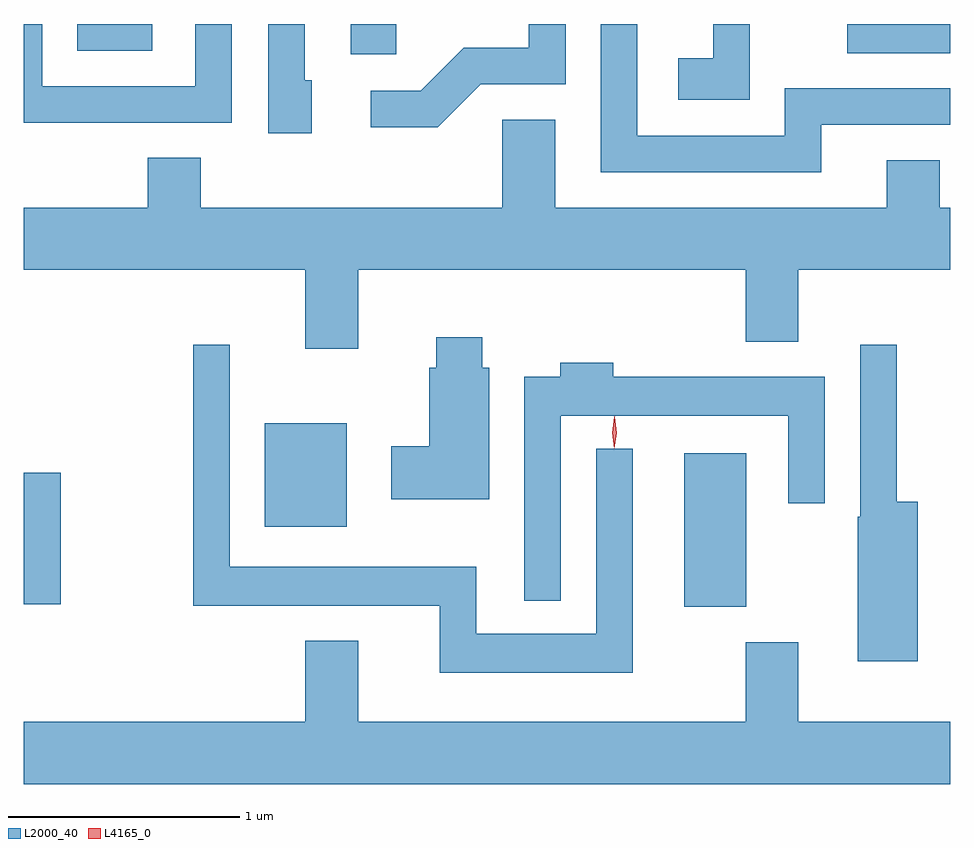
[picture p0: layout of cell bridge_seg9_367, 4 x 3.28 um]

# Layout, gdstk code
import gdstk
lib = gdstk.Library(unit=1e-6, precision=1e-09)
def R(c, l, rs):  # rectangles x0, y0, x1, y1
    for r in rs: c.add(gdstk.rectangle(r[:2], r[2:], *l))
def P(c, l, *ps):  # polygons
    for p in ps: c.add(gdstk.Polygon(p, *l))
L2000_40 = (2000, 40)
L4165_0 = (4165, 0)

bridge_seg9_367 = lib.new_cell('bridge_seg9_367')
R(bridge_seg9_367, L2000_40, [(992.996,1990.361,993.264,1991.024), (990.145,1990.371,990.304,1990.939), (991.186,1990.706,991.539,1991.154), (991.556,1992.746,991.754,1992.877), (993.701,1992.751,994.145,1992.877), (990.376,1992.761,990.699,1992.877)])
P(bridge_seg9_367, L2000_40, [(991.389,1992.634),(991.359,1992.634),(991.359,1992.877),(991.201,1992.877),(991.201,1992.406),(991.389,1992.406)],
  [(993.589,1992.441),(994.145,1992.441),(994.145,1992.599),(993.431,1992.599),(993.431,1992.394),(992.794,1992.394),(992.794,1992.877),(992.636,1992.877),(992.636,1992.236),(993.589,1992.236)],
  [(991.044,1992.877),(990.886,1992.877),(990.886,1992.609),(990.224,1992.609),(990.224,1992.877),(990.145,1992.877),(990.145,1992.451),(991.044,1992.451)],
  [(992.117,1992.616),(992.484,1992.616),(992.484,1992.877),(992.326,1992.877),(992.326,1992.774),(992.044,1992.774),(991.859,1992.589),(991.643,1992.589),(991.643,1992.431),(991.932,1992.431)],
  [(993.279,1992.877),(993.121,1992.877),(993.121,1992.729),(992.971,1992.729),(992.971,1992.551),(993.279,1992.551)],
  [(991.589,1991.816),(993.261,1991.816),(993.261,1991.506),(993.489,1991.506),(993.489,1991.816),(994.145,1991.816),(994.145,1992.084),(994.099,1992.084),(994.099,1992.289),(993.871,1992.289),(993.871,1992.084),(992.439,1992.084),(992.439,1992.464),(992.211,1992.464),(992.211,1992.084),(990.909,1992.084),(990.909,1992.299),(990.681,1992.299),(990.681,1992.084),(990.145,1992.084),(990.145,1991.816),(991.361,1991.816),(991.361,1991.476),(991.589,1991.476)],
  [(992.154,1991.394),(992.124,1991.394),(992.124,1991.524),(991.926,1991.524),(991.926,1991.394),(991.896,1991.394),(991.896,1991.054),(991.731,1991.054),(991.731,1990.826),(992.154,1990.826)],
  [(992.774,1991.043),(992.616,1991.043),(992.616,1990.244),(992.099,1990.244),(992.099,1990.534),(991.034,1990.534),(991.034,1991.493),(990.876,1991.493),(990.876,1990.366),(991.941,1990.366),(991.941,1990.076),(992.774,1990.076)],
  [(994.004,1990.814),(993.914,1990.814),(993.914,1991.493),(993.756,1991.493),(993.756,1990.75),(993.746,1990.75),(993.746,1990.126),(994.004,1990.126)],
  [(992.464,1991.186),(993.446,1991.186),(993.446,1990.808),(993.604,1990.808),(993.604,1991.354),(992.689,1991.354),(992.689,1991.414),(992.461,1991.414),(992.461,1991.354),(992.306,1991.354),(992.306,1990.388),(992.464,1990.388)],
  [(994.145,1989.864),(993.489,1989.864),(993.489,1990.209),(993.261,1990.209),(993.261,1989.864),(991.589,1989.864),(991.589,1990.214),(991.361,1990.214),(991.361,1989.864),(990.145,1989.864),(990.145,1989.596),(994.145,1989.596)])
P(bridge_seg9_367, L4165_0, [(992.694,1991.044),(992.685,1991.113),(992.695,1991.182),(992.696,1991.183),(992.696,1991.182),(992.705,1991.113),(992.695,1991.044),(992.695,1991.044)])

lib.write_gds('bridge_seg9_367.gds')
